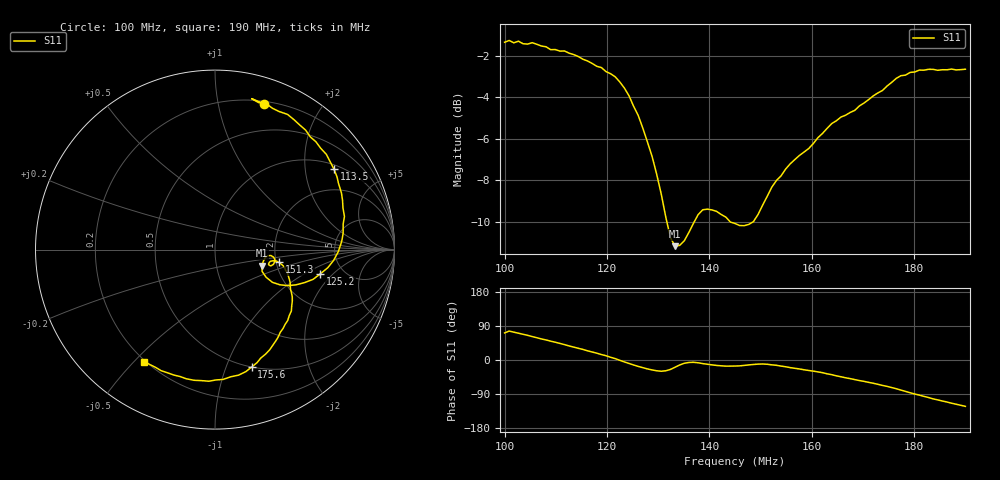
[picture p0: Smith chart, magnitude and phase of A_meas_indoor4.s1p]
!File created by NanoVNA-F V2
# Hz S RI R 50
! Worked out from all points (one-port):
!   101 points, 100 MHz to 190 MHz, reference 50 ohm
!   lowest |S11| = -11.2 dB at 133.3 MHz (marker M1), VSWR 1.76, Z = 83.4 - j16.2 ohm
!   |S11| at or under -10 dB: 131.7 MHz to 137.1 MHz (5.366 MHz wide, 3.99 % of centre); 144 MHz to 148.6 MHz (4.523 MHz wide, 3.09 % of centre)
!   S11 on the Smith chart (normalised r, x): 100 MHz: 0.22, +1.37; 113.5 MHz: 1.15, +2.85; 125.2 MHz: 3.34, -1.43; 151.3 MHz: 2.07, -0.34; 175.6 MHz: 0.50, -1.23; 190 MHz: 0.20, -0.53
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1e8  0.2728 0.8123
1.009e8  0.2043 0.8411
1.054e8  0.4038 0.7534
1.117e8  0.6202 0.531
1.135e8  0.6631 0.4476
1.189e8  0.7212 0.1845
1.225e8  0.6873 -0.0102
1.252e8  0.5846 -0.1369
1.279e8  0.4515 -0.1962
1.297e8  0.3621 -0.1961
1.315e8  0.2847 -0.1539
1.333e8  0.2611 -0.0897
1.342e8  0.2701 -0.063
1.36e8  0.2962 -0.0339
1.387e8  0.3333 -0.0557
1.414e8  0.3245 -0.083
1.45e8  0.3012 -0.086
1.486e8  0.3097 -0.0648
1.513e8  0.3573 -0.0712
1.567e8  0.4145 -0.1669
1.603e8  0.4256 -0.2393
1.639e8  0.4254 -0.3416
1.675e8  0.3797 -0.4388
1.72e8  0.3045 -0.5584
1.756e8  0.2037 -0.6548
1.792e8  0.0454 -0.7232
1.828e8  -0.1159 -0.7282
1.9e8  -0.3942 -0.6235
